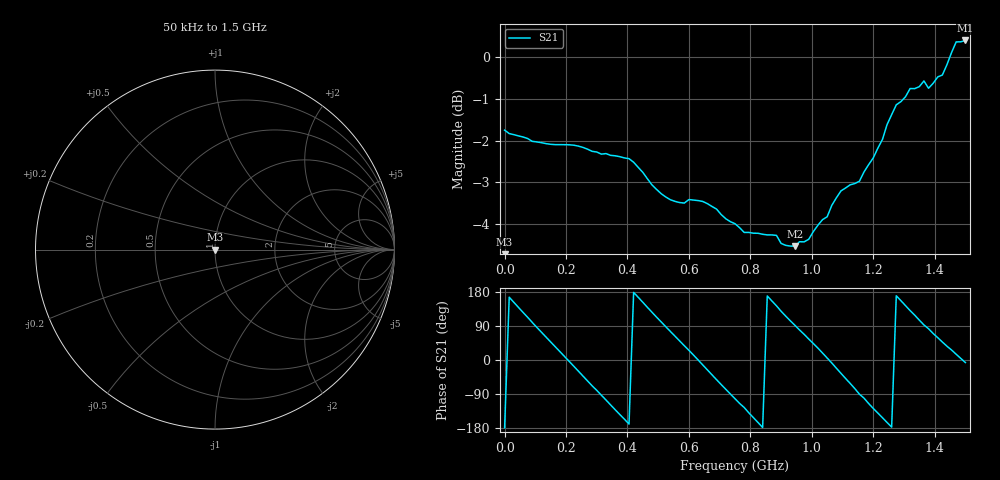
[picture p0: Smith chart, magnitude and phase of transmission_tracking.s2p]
! Created with skrf 1.8.0 (http://scikit-rf.org).
# Hz S RI R 50.0
!freq ReS11 ImS11 ReS21 ImS21 ReS12 ImS12 ReS22 ImS22
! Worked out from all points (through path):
!   101 points, 50 kHz to 1.5 GHz, reference 50 ohm
!   highest |S21| = 0.40 dB at 1.5 GHz (marker M1); lowest = -4.5 dB at 945 MHz (marker M2)
!   lowest |S11| = - dB at 50 kHz (marker M3), VSWR 1.00, Z = 50 + j0 ohm
!   |S11| at or under -10 dB: start of sweep to end of sweep
!   S12 and S22 are empty: the file has one direction only
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50000  0 0  -0.8177 -0.0116  0 0  0 0
6.0048e7  0 0  -0.4682 0.6517  0 0  0 0
1.050465e8  0 0  0.0544 0.7897  0 0  0 0
1.80044e8  0 0  0.7278 0.296  0 0  0 0
2.550415e8  0 0  0.5774 -0.5241  0 0  0 0
3.30039e8  0 0  -0.2053 -0.7385  0 0  0 0
4.050365e8  0 0  -0.7421 -0.1436  0 0  0 0
5.10033e8  0 0  -0.1224 0.6751  0 0  0 0
6.30029e8  0 0  0.6733 0.000745  0 0  0 0
6.90027e8  0 0  0.4054 -0.5179  0 0  0 0
7.50025e8  0 0  -0.1329 -0.6175  0 0  0 0
8.40022e8  0 0  -0.6131 -0.0215  0 0  0 0
9.450185e8  0 0  -0.0161 0.5935  0 0  0 0
1.005016e9  0 0  0.4486 0.4251  0 0  0 0
1.080014e9  0 0  0.6306 -0.2503  0 0  0 0
1.140012e9  0 0  0.1774 -0.683  0 0  0 0
1.20001e9  0 0  -0.4636 -0.5988  0 0  0 0
1.260008e9  0 0  -0.8523 -0.0444  0 0  0 0
1.305006e9  0 0  -0.7208 0.5334  0 0  0 0
1.365004e9  0 0  -0.0416 0.9358  0 0  0 0
1.425002e9  0 0  0.644 0.7012  0 0  0 0
1.5e9  0 0  1.04 -0.1214  0 0  0 0
